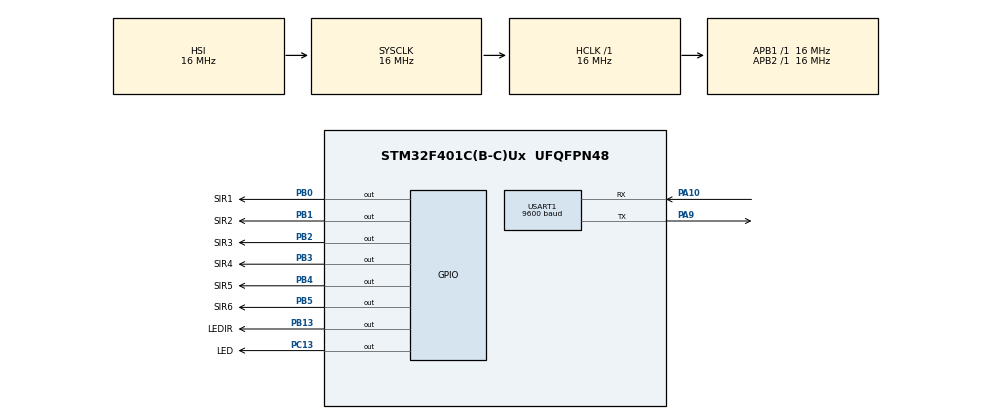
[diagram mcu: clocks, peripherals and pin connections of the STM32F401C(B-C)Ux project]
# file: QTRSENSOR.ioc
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Mcu.Family=STM32F4
Mcu.Name=STM32F401C(B-C)Ux
Mcu.Package=UFQFPN48
Mcu.UserConstants=TIMIR,TIM9;hTIMIR,$$_TIM9_IP_HANDLE_$$
NVIC.PriorityGroup=NVIC_PRIORITYGROUP_4
PA10.Mode=Asynchronous
PA10.Signal=USART1_RX
PA9.Mode=Asynchronous
PA9.Signal=USART1_TX
PB0.GPIO_Label=SIR1
PB0.Signal=GPIO_Output
PB1.GPIO_Label=SIR2
PB1.Signal=GPIO_Output
PB13.GPIO_Label=LEDIR
PB13.Signal=GPIO_Output
PB2.GPIO_Label=SIR3
PB2.Signal=GPIO_Output
PB3.GPIO_Label=SIR4
PB3.Signal=GPIO_Output
PB4.GPIO_Label=SIR5
PB4.Signal=GPIO_Output
PB5.GPIO_Label=SIR6
PB5.Signal=GPIO_Output
PC13-ANTI_TAMP.GPIO_Label=LED
PC13-ANTI_TAMP.Signal=GPIO_Output
ProjectManager.HeapSize=0x200
ProjectManager.StackSize=0x400
ProjectManager.TargetToolchain=STM32CubeIDE
RCC.AHBFreq_Value=16000000
RCC.APB1Freq_Value=16000000
RCC.APB2Freq_Value=16000000
RCC.CortexFreq_Value=16000000
RCC.HSE_VALUE=25000000
RCC.HSI_VALUE=16000000
RCC.LSE_VALUE=32768
RCC.SYSCLKFreq_VALUE=16000000
RCC.VCOOutputFreq_Value=192000000
TIM9.Prescaler=16-1
USART1.BaudRate=9600
USART1.VirtualMode=VM_ASYNC
VP_TIM9_VS_ClockSourceINT.Mode=Internal
board=custom

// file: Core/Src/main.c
/* USER CODE BEGIN Header */
/**
  ******************************************************************************
  * @file           : main.c
  * @brief          : Main program body
  ******************************************************************************
  * @attention
  *
  * Copyright (c) 2023 STMicroelectronics.
  * All rights reserved.
  *
  * This software is licensed under terms that can be found in the LICENSE file
  * in the root directory of this software component.
  * If no LICENSE file comes with this software, it is provided AS-IS.
  *
  ******************************************************************************
  */
/* USER CODE END Header */
#include "main.h"

/* USER CODE BEGIN Includes */
#include "QTR.h"
#include "uart.h"

#include "string.h"
#include "stdio.h"
#include "stdint.h"

/* USER CODE END Includes */

TIM_HandleTypeDef htim9;

UART_HandleTypeDef huart1;

/* USER CODE BEGIN PV */

char texto[100];
uint16_t lecturas[8];

/* USER CODE END PV */

void SystemClock_Config(void);
static void MX_GPIO_Init(void);
static void MX_TIM9_Init(void);
static void MX_USART1_UART_Init(void);

int main(void)
{

  /* MCU Configuration--------------------------------------------------------*/

  /* Reset of all peripherals, Initializes the Flash interface and the Systick. */
  HAL_Init();

  /* Configure the system clock */
  SystemClock_Config();

  /* Initialize all configured peripherals */
  MX_GPIO_Init();
  MX_TIM9_Init();
  MX_USART1_UART_Init();
  /* USER CODE BEGIN 2 */
  QTR_Init();
  uartx_write_text(&huart1, "INICIANDO\r\n");
  	  QTR_calibra(80);
  	//  QTR_Manda_Limites();

  /* USER CODE END 2 */

  /* Infinite loop */
  /* USER CODE BEGIN WHILE */
  while (1)
  {
	  HAL_GPIO_TogglePin(LED_GPIO_Port, LED_Pin);
	  QTR_lectura(lecturas);
      QTR_Normaliza(lecturas);

	  sprintf(texto,"SEN1=%d\r\n",lecturas[0]);
	uartx_write_text(&huart1, texto);
	  sprintf(texto,"SEN2=%d\r\n",lecturas[1]);
		uartx_write_text(&huart1, texto);
		  sprintf(texto,"SEN3=%d\r\n",lecturas[2]);
			uartx_write_text(&huart1, texto);
			  sprintf(texto,"SEN4=%d\r\n",lecturas[3]);
				uartx_write_text(&huart1, texto);
				  sprintf(texto,"SEN5=%d\r\n",lecturas[4]);
					uartx_write_text(&huart1, texto);
					  sprintf(texto,"SEN6=%d\r\n\r\n",lecturas[5]);
						uartx_write_text(&huart1, texto);

    HAL_Delay(900);

    /* USER CODE END WHILE */

  }
}

void SystemClock_Config(void)
{
  RCC_OscInitTypeDef RCC_OscInitStruct = {0};
  RCC_ClkInitTypeDef RCC_ClkInitStruct = {0};

  /** Configure the main internal regulator output voltage
  */
  __HAL_RCC_PWR_CLK_ENABLE();
  __HAL_PWR_VOLTAGESCALING_CONFIG(PWR_REGULATOR_VOLTAGE_SCALE2);

  /** Initializes the RCC Oscillators according to the specified parameters
  * in the RCC_OscInitTypeDef structure.
  */
  RCC_OscInitStruct.OscillatorType = RCC_OSCILLATORTYPE_HSI;
  RCC_OscInitStruct.HSIState = RCC_HSI_ON;
  RCC_OscInitStruct.HSICalibrationValue = RCC_HSICALIBRATION_DEFAULT;
  RCC_OscInitStruct.PLL.PLLState = RCC_PLL_NONE;
  if (HAL_RCC_OscConfig(&RCC_OscInitStruct) != HAL_OK)
  {
    Error_Handler();
  }

  /** Initializes the CPU, AHB and APB buses clocks
  */
  RCC_ClkInitStruct.ClockType = RCC_CLOCKTYPE_HCLK|RCC_CLOCKTYPE_SYSCLK
                              |RCC_CLOCKTYPE_PCLK1|RCC_CLOCKTYPE_PCLK2;
  RCC_ClkInitStruct.SYSCLKSource = RCC_SYSCLKSOURCE_HSI;
  RCC_ClkInitStruct.AHBCLKDivider = RCC_SYSCLK_DIV1;
  RCC_ClkInitStruct.APB1CLKDivider = RCC_HCLK_DIV1;
  RCC_ClkInitStruct.APB2CLKDivider = RCC_HCLK_DIV1;

  if (HAL_RCC_ClockConfig(&RCC_ClkInitStruct, FLASH_LATENCY_0) != HAL_OK)
  {
    Error_Handler();
  }
}

static void MX_TIM9_Init(void)
{

  TIM_ClockConfigTypeDef sClockSourceConfig = {0};

  htim9.Instance = TIM9;
  htim9.Init.Prescaler = 16-1;
  htim9.Init.CounterMode = TIM_COUNTERMODE_UP;
  htim9.Init.Period = 65535;
  htim9.Init.ClockDivision = TIM_CLOCKDIVISION_DIV1;
  htim9.Init.AutoReloadPreload = TIM_AUTORELOAD_PRELOAD_DISABLE;
  if (HAL_TIM_Base_Init(&htim9) != HAL_OK)
  {
    Error_Handler();
  }
  sClockSourceConfig.ClockSource = TIM_CLOCKSOURCE_INTERNAL;
  if (HAL_TIM_ConfigClockSource(&htim9, &sClockSourceConfig) != HAL_OK)
  {
    Error_Handler();
  }

}

static void MX_USART1_UART_Init(void)
{

  huart1.Instance = USART1;
  huart1.Init.BaudRate = 9600;
  huart1.Init.WordLength = UART_WORDLENGTH_8B;
  huart1.Init.StopBits = UART_STOPBITS_1;
  huart1.Init.Parity = UART_PARITY_NONE;
  huart1.Init.Mode = UART_MODE_TX_RX;
  huart1.Init.HwFlowCtl = UART_HWCONTROL_NONE;
  huart1.Init.OverSampling = UART_OVERSAMPLING_16;
  if (HAL_UART_Init(&huart1) != HAL_OK)
  {
    Error_Handler();
  }

}

static void MX_GPIO_Init(void)
{
  GPIO_InitTypeDef GPIO_InitStruct = {0};

  /* GPIO Ports Clock Enable */
  __HAL_RCC_GPIOC_CLK_ENABLE();
  __HAL_RCC_GPIOB_CLK_ENABLE();
  __HAL_RCC_GPIOA_CLK_ENABLE();

  /*Configure GPIO pin Output Level */
  HAL_GPIO_WritePin(LED_GPIO_Port, LED_Pin, GPIO_PIN_RESET);

  /*Configure GPIO pin Output Level */
  HAL_GPIO_WritePin(GPIOB, SIR1_Pin|SIR2_Pin|SIR3_Pin|LEDIR_Pin
                          |SIR4_Pin|SIR5_Pin|SIR6_Pin, GPIO_PIN_RESET);

  /*Configure GPIO pin : LED_Pin */
  GPIO_InitStruct.Pin = LED_Pin;
  GPIO_InitStruct.Mode = GPIO_MODE_OUTPUT_PP;
  GPIO_InitStruct.Pull = GPIO_NOPULL;
  GPIO_InitStruct.Speed = GPIO_SPEED_FREQ_LOW;
  HAL_GPIO_Init(LED_GPIO_Port, &GPIO_InitStruct);

  /*Configure GPIO pins : SIR1_Pin SIR2_Pin SIR3_Pin LEDIR_Pin
                           SIR4_Pin SIR5_Pin SIR6_Pin */
  GPIO_InitStruct.Pin = SIR1_Pin|SIR2_Pin|SIR3_Pin|LEDIR_Pin
                          |SIR4_Pin|SIR5_Pin|SIR6_Pin;
  GPIO_InitStruct.Mode = GPIO_MODE_OUTPUT_PP;
  GPIO_InitStruct.Pull = GPIO_NOPULL;
  GPIO_InitStruct.Speed = GPIO_SPEED_FREQ_LOW;
  HAL_GPIO_Init(GPIOB, &GPIO_InitStruct);

}

void Error_Handler(void)
{
  __disable_irq();
  while (1)
  {
  }
}
